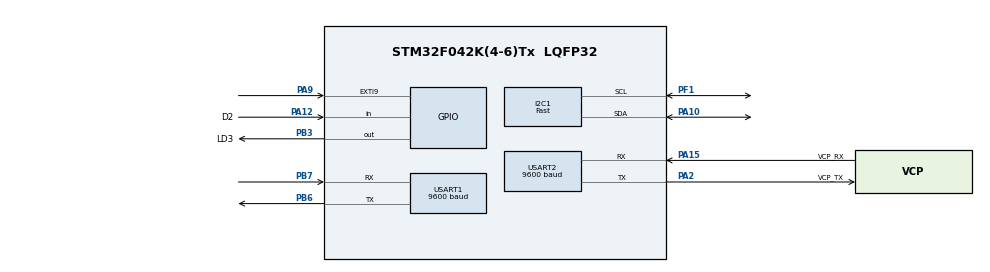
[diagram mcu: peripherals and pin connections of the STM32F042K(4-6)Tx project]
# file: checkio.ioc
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Dma.Request0=USART2_RX
Dma.Request1=USART2_TX
Dma.USART2_RX.0.Direction=DMA_PERIPH_TO_MEMORY
Dma.USART2_RX.0.Instance=DMA1_Channel5
Dma.USART2_RX.0.MemDataAlignment=DMA_MDATAALIGN_BYTE
Dma.USART2_RX.0.MemInc=DMA_MINC_ENABLE
Dma.USART2_RX.0.Mode=DMA_NORMAL
Dma.USART2_RX.0.PeriphDataAlignment=DMA_PDATAALIGN_BYTE
Dma.USART2_RX.0.PeriphInc=DMA_PINC_DISABLE
Dma.USART2_RX.0.Priority=DMA_PRIORITY_LOW
Dma.USART2_TX.1.Direction=DMA_MEMORY_TO_PERIPH
Dma.USART2_TX.1.Instance=DMA1_Channel4
Dma.USART2_TX.1.MemDataAlignment=DMA_MDATAALIGN_BYTE
Dma.USART2_TX.1.MemInc=DMA_MINC_ENABLE
Dma.USART2_TX.1.Mode=DMA_NORMAL
Dma.USART2_TX.1.PeriphDataAlignment=DMA_PDATAALIGN_BYTE
Dma.USART2_TX.1.PeriphInc=DMA_PINC_DISABLE
Dma.USART2_TX.1.Priority=DMA_PRIORITY_LOW
FREERTOS.Tasks01=defaultTask,0,128,StartDefaultTask,Default,NULL,Dynamic,NULL,NULL;myTask02led,-3,128,StartTask02led,Default,NULL,Dynamic,NULL,NULL;myTask03print,-3,128,StartTask03print,Default,NULL,Dynamic,NULL,NULL
FREERTOS.configMINIMAL_STACK_SIZE=64
I2C1.I2C_Speed_Mode=I2C_Fast
I2C1.OwnAddress=0x47
I2C1.Timing=0x0000020B
Mcu.Family=STM32F0
Mcu.Name=STM32F042K(4-6)Tx
Mcu.Package=LQFP32
NVIC.DMA1_Channel4_5_IRQn=true\:3\:0\:false\:false\:true\:true\:false
NVIC.EXTI4_15_IRQn=true\:3\:0\:false\:false\:true\:true\:true
NVIC.I2C1_IRQn=true\:3\:0\:false\:false\:true\:true\:true
NVIC.USART1_IRQn=true\:3\:0\:false\:false\:true\:true\:true
NVIC.USART2_IRQn=true\:3\:0\:false\:false\:true\:true\:true
PA10.Mode=I2C
PA10.Signal=I2C1_SDA
PA12.GPIO_Label=D2
PA12.Signal=GPIO_Input
PA13.GPIO_Label=SWDIO
PA13.Mode=Serial_Wire
PA13.Signal=SYS_SWDIO
PA14.GPIO_Label=SWCLK
PA14.Mode=Serial_Wire
PA14.Signal=SYS_SWCLK
PA15.GPIO_Label=VCP_RX
PA15.Mode=Asynchronous
PA15.Signal=USART2_RX
PA2.GPIO_Label=VCP_TX
PA2.Mode=Asynchronous
PA2.Signal=USART2_TX
PA9.Signal=GPXTI9
PB3.GPIO_Label=LD3
PB3.PinState=GPIO_PIN_SET
PB3.Signal=GPIO_Output
PB6.Mode=Asynchronous
PB6.Signal=USART1_TX
PB7.Mode=Asynchronous
PB7.Signal=USART1_RX
PF0-OSC_IN.GPIO_Label=MCO
PF0-OSC_IN.Mode=HSE-External-Clock-Source
PF0-OSC_IN.Signal=RCC_OSC_IN
PF1-OSC_OUT.Mode=I2C
PF1-OSC_OUT.Signal=I2C1_SCL
ProjectManager.HeapSize=0x200
ProjectManager.StackSize=0x400
ProjectManager.TargetToolchain=MDK-ARM V5
USART1.BaudRate=9600
USART1.VirtualMode-Asynchronous=VM_ASYNC
USART2.BaudRate=9600
USART2.VirtualMode-Asynchronous=VM_ASYNC
VP_FREERTOS_VS_ENABLE.Mode=Enabled
board=NUCLEO-F042K6

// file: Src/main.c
/**
  ******************************************************************************
  * @file           : main.c
  * @brief          : Main program body
  ******************************************************************************
  * This notice applies to any and all portions of this file
  * that are not between comment pairs USER CODE BEGIN and
  * USER CODE END. Other portions of this file, whether
  * inserted by the user or by software development tools
  * are owned by their respective copyright owners.
  *
  * Copyright (c) 2018 STMicroelectronics International N.V.
  * All rights reserved.
  *
  * Redistribution and use in source and binary forms, with or without
  * modification, are permitted, provided that the following conditions are met:
  *
  * 1. Redistribution of source code must retain the above copyright notice,
  *    this list of conditions and the following disclaimer.
  * 2. Redistributions in binary form must reproduce the above copyright notice,
  *    this list of conditions and the following disclaimer in the documentation
  *    and/or other materials provided with the distribution.
  * 3. Neither the name of STMicroelectronics nor the names of other
  *    contributors to this software may be used to endorse or promote products
  *    derived from this software without specific written permission.
  * 4. This software, including modifications and/or derivative works of this
  *    software, must execute solely and exclusively on microcontroller or
  *    microprocessor devices manufactured by or for STMicroelectronics.
  * 5. Redistribution and use of this software other than as permitted under
  *    this license is void and will automatically terminate your rights under
  *    this license.
  *
  * THIS SOFTWARE IS PROVIDED BY STMICROELECTRONICS AND CONTRIBUTORS "AS IS"
  * AND ANY EXPRESS, IMPLIED OR STATUTORY WARRANTIES, INCLUDING, BUT NOT
  * LIMITED TO, THE IMPLIED WARRANTIES OF MERCHANTABILITY, FITNESS FOR A
  * PARTICULAR PURPOSE AND NON-INFRINGEMENT OF THIRD PARTY INTELLECTUAL PROPERTY
  * RIGHTS ARE DISCLAIMED TO THE FULLEST EXTENT PERMITTED BY LAW. IN NO EVENT
  * SHALL STMICROELECTRONICS OR CONTRIBUTORS BE LIABLE FOR ANY DIRECT, INDIRECT,
  * INCIDENTAL, SPECIAL, EXEMPLARY, OR CONSEQUENTIAL DAMAGES (INCLUDING, BUT NOT
  * LIMITED TO, PROCUREMENT OF SUBSTITUTE GOODS OR SERVICES; LOSS OF USE, DATA,
  * OR PROFITS; OR BUSINESS INTERRUPTION) HOWEVER CAUSED AND ON ANY THEORY OF
  * LIABILITY, WHETHER IN CONTRACT, STRICT LIABILITY, OR TORT (INCLUDING
  * NEGLIGENCE OR OTHERWISE) ARISING IN ANY WAY OUT OF THE USE OF THIS SOFTWARE,
  * EVEN IF ADVISED OF THE POSSIBILITY OF SUCH DAMAGE.
  *
  ******************************************************************************
  */
#include "main.h"
#include "stm32f0xx_hal.h"
#include "cmsis_os.h"

I2C_HandleTypeDef hi2c1;

UART_HandleTypeDef huart1;
UART_HandleTypeDef huart2;
DMA_HandleTypeDef hdma_usart2_rx;
DMA_HandleTypeDef hdma_usart2_tx;

osThreadId defaultTaskHandle;
osThreadId myTask02ledHandle;
osThreadId myTask03printHandle;

/* USER CODE BEGIN PV */
/* Private variables ---------------------------------------------------------*/
//uint8_t aTxMessage[] = "\r\n**** UART-Hyperterminal communication based on DMA ***\r\n    WaveShare Open7XXI-C Board \r\n";
/*	可以接收的最大字符个数	*/
#define BUFFERSIZE 255
uint8_t ReceiveBuff[BUFFERSIZE];						//接收缓冲区
uint8_t recv_end_flag = 0,Rx_len;	//接收完成中断，接收到字符长度

uint8_t I2C_read_value[1];
uint8_t I2C_write_value[1];
////	//	下面开始是	与 KYW 模组 的 串口 通讯协议	KYW00x系列模组和终端设备通信接口说明书V2.5（修改稿1806291423改）.docx

void huart1_receive_message_Handle(void);
volatile uint8_t Rxbuff_UART[100];
volatile uint8_t Rxbuff_UART_DMA[100];
volatile uint8_t Rxbuff_UART1[100];
volatile uint8_t Rx_count_UART1=0;
volatile uint8_t aaRxBuffer_UART1[1];
volatile uint8_t Rx_Num_UART1=0;
uint8_t power_on_FLAG=0;

volatile uint8_t RxBuffer_UART[1];
volatile uint8_t Rx_count_UART=0;
volatile uint16_t Rx_Num_UART=0;
/* USER CODE END PV */

void SystemClock_Config(void);
static void MX_GPIO_Init(void);
static void MX_DMA_Init(void);
static void MX_USART2_UART_Init(void);
static void MX_I2C1_Init(void);
static void MX_USART1_UART_Init(void);
void StartDefaultTask(void const * argument);
void StartTask02led(void const * argument);
void StartTask03print(void const * argument);

/* USER CODE BEGIN PFP */
/* Private function prototypes -----------------------------------------------*/

/* USER CODE END PFP */

int main(void)
{

  /* MCU Configuration----------------------------------------------------------*/

  /* Reset of all peripherals, Initializes the Flash interface and the Systick. */
  HAL_Init();

  /* Configure the system clock */
  SystemClock_Config();

  /* Initialize all configured peripherals */
  MX_GPIO_Init();
  MX_DMA_Init();
  MX_USART2_UART_Init();
  MX_I2C1_Init();
  MX_USART1_UART_Init();

  /* Create the thread(s) */
  /* definition and creation of defaultTask */
  osThreadDef(defaultTask, StartDefaultTask, osPriorityNormal, 0, 128);
  defaultTaskHandle = osThreadCreate(osThread(defaultTask), NULL);

  /* definition and creation of myTask02led */
  osThreadDef(myTask02led, StartTask02led, osPriorityIdle, 0, 128);
  myTask02ledHandle = osThreadCreate(osThread(myTask02led), NULL);

  /* definition and creation of myTask03print */
  osThreadDef(myTask03print, StartTask03print, osPriorityIdle, 0, 128);
  myTask03printHandle = osThreadCreate(osThread(myTask03print), NULL);

  /* Start scheduler */
  osKernelStart();

  /* We should never get here as control is now taken by the scheduler */

  /* Infinite loop */
  while (1)
  {

  /* USER CODE BEGIN 3 */
//		HAL_Delay(5000);
//		HAL_GPIO_TogglePin(LD3_GPIO_Port,LD3_Pin);
//		printf("\n\r 5秒到了 !!!");
  }
  /* USER CODE END 3 */

}

void SystemClock_Config(void)
{

  RCC_OscInitTypeDef RCC_OscInitStruct;
  RCC_ClkInitTypeDef RCC_ClkInitStruct;
  RCC_PeriphCLKInitTypeDef PeriphClkInit;

    /**Initializes the CPU, AHB and APB busses clocks
    */
  RCC_OscInitStruct.OscillatorType = RCC_OSCILLATORTYPE_HSI;
  RCC_OscInitStruct.HSIState = RCC_HSI_ON;
  RCC_OscInitStruct.HSICalibrationValue = 16;
  RCC_OscInitStruct.PLL.PLLState = RCC_PLL_NONE;
  if (HAL_RCC_OscConfig(&RCC_OscInitStruct) != HAL_OK)
  {
    _Error_Handler(__FILE__, __LINE__);
  }

    /**Initializes the CPU, AHB and APB busses clocks
    */
  RCC_ClkInitStruct.ClockType = RCC_CLOCKTYPE_HCLK|RCC_CLOCKTYPE_SYSCLK
                              |RCC_CLOCKTYPE_PCLK1;
  RCC_ClkInitStruct.SYSCLKSource = RCC_SYSCLKSOURCE_HSI;
  RCC_ClkInitStruct.AHBCLKDivider = RCC_SYSCLK_DIV1;
  RCC_ClkInitStruct.APB1CLKDivider = RCC_HCLK_DIV1;

  if (HAL_RCC_ClockConfig(&RCC_ClkInitStruct, FLASH_LATENCY_0) != HAL_OK)
  {
    _Error_Handler(__FILE__, __LINE__);
  }

  PeriphClkInit.PeriphClockSelection = RCC_PERIPHCLK_USART1|RCC_PERIPHCLK_I2C1;
  PeriphClkInit.Usart1ClockSelection = RCC_USART1CLKSOURCE_PCLK1;
  PeriphClkInit.I2c1ClockSelection = RCC_I2C1CLKSOURCE_HSI;
  if (HAL_RCCEx_PeriphCLKConfig(&PeriphClkInit) != HAL_OK)
  {
    _Error_Handler(__FILE__, __LINE__);
  }

    /**Configure the Systick interrupt time
    */
  HAL_SYSTICK_Config(HAL_RCC_GetHCLKFreq()/1000);

    /**Configure the Systick
    */
  HAL_SYSTICK_CLKSourceConfig(SYSTICK_CLKSOURCE_HCLK);

  /* SysTick_IRQn interrupt configuration */
  HAL_NVIC_SetPriority(SysTick_IRQn, 3, 0);
}

/* I2C1 init function */
static void MX_I2C1_Init(void)
{

  hi2c1.Instance = I2C1;
  hi2c1.Init.Timing = 0x0000020B;
  hi2c1.Init.OwnAddress1 = 142;
  hi2c1.Init.AddressingMode = I2C_ADDRESSINGMODE_7BIT;
  hi2c1.Init.DualAddressMode = I2C_DUALADDRESS_DISABLE;
  hi2c1.Init.OwnAddress2 = 0;
  hi2c1.Init.OwnAddress2Masks = I2C_OA2_NOMASK;
  hi2c1.Init.GeneralCallMode = I2C_GENERALCALL_DISABLE;
  hi2c1.Init.NoStretchMode = I2C_NOSTRETCH_DISABLE;
  if (HAL_I2C_Init(&hi2c1) != HAL_OK)
  {
    _Error_Handler(__FILE__, __LINE__);
  }

    /**Configure Analogue filter
    */
  if (HAL_I2CEx_ConfigAnalogFilter(&hi2c1, I2C_ANALOGFILTER_ENABLE) != HAL_OK)
  {
    _Error_Handler(__FILE__, __LINE__);
  }

    /**Configure Digital filter
    */
  if (HAL_I2CEx_ConfigDigitalFilter(&hi2c1, 0) != HAL_OK)
  {
    _Error_Handler(__FILE__, __LINE__);
  }

}

/* USART1 init function */
static void MX_USART1_UART_Init(void)
{

  huart1.Instance = USART1;
  huart1.Init.BaudRate = 9600;
  huart1.Init.WordLength = UART_WORDLENGTH_8B;
  huart1.Init.StopBits = UART_STOPBITS_1;
  huart1.Init.Parity = UART_PARITY_NONE;
  huart1.Init.Mode = UART_MODE_TX_RX;
  huart1.Init.HwFlowCtl = UART_HWCONTROL_NONE;
  huart1.Init.OverSampling = UART_OVERSAMPLING_16;
  huart1.Init.OneBitSampling = UART_ONE_BIT_SAMPLE_DISABLE;
  huart1.AdvancedInit.AdvFeatureInit = UART_ADVFEATURE_NO_INIT;
  if (HAL_UART_Init(&huart1) != HAL_OK)
  {
    _Error_Handler(__FILE__, __LINE__);
  }

}

/* USART2 init function */
static void MX_USART2_UART_Init(void)
{

  huart2.Instance = USART2;
  huart2.Init.BaudRate = 9600;
  huart2.Init.WordLength = UART_WORDLENGTH_8B;
  huart2.Init.StopBits = UART_STOPBITS_1;
  huart2.Init.Parity = UART_PARITY_NONE;
  huart2.Init.Mode = UART_MODE_TX_RX;
  huart2.Init.HwFlowCtl = UART_HWCONTROL_NONE;
  huart2.Init.OverSampling = UART_OVERSAMPLING_16;
  huart2.Init.OneBitSampling = UART_ONE_BIT_SAMPLE_DISABLE;
  huart2.AdvancedInit.AdvFeatureInit = UART_ADVFEATURE_NO_INIT;
  if (HAL_UART_Init(&huart2) != HAL_OK)
  {
    _Error_Handler(__FILE__, __LINE__);
  }

}

static void MX_DMA_Init(void)
{
  /* DMA controller clock enable */
  __HAL_RCC_DMA1_CLK_ENABLE();

  /* DMA interrupt init */
  /* DMA1_Channel4_5_IRQn interrupt configuration */
  HAL_NVIC_SetPriority(DMA1_Channel4_5_IRQn, 3, 0);
  HAL_NVIC_EnableIRQ(DMA1_Channel4_5_IRQn);

}

/** Configure pins as
        * Analog
        * Input
        * Output
        * EVENT_OUT
        * EXTI
*/
static void MX_GPIO_Init(void)
{

  GPIO_InitTypeDef GPIO_InitStruct;

  /* GPIO Ports Clock Enable */
  __HAL_RCC_GPIOF_CLK_ENABLE();
  __HAL_RCC_GPIOA_CLK_ENABLE();
  __HAL_RCC_GPIOB_CLK_ENABLE();

  /*Configure GPIO pin Output Level */
  HAL_GPIO_WritePin(LD3_GPIO_Port, LD3_Pin, GPIO_PIN_SET);

  /*Configure GPIO pin : PA9 */
  GPIO_InitStruct.Pin = GPIO_PIN_9;
  GPIO_InitStruct.Mode = GPIO_MODE_IT_RISING;
  GPIO_InitStruct.Pull = GPIO_NOPULL;
  HAL_GPIO_Init(GPIOA, &GPIO_InitStruct);

  /*Configure GPIO pin : D2_Pin */
  GPIO_InitStruct.Pin = D2_Pin;
  GPIO_InitStruct.Mode = GPIO_MODE_INPUT;
  GPIO_InitStruct.Pull = GPIO_NOPULL;
  HAL_GPIO_Init(D2_GPIO_Port, &GPIO_InitStruct);

  /*Configure GPIO pin : LD3_Pin */
  GPIO_InitStruct.Pin = LD3_Pin;
  GPIO_InitStruct.Mode = GPIO_MODE_OUTPUT_PP;
  GPIO_InitStruct.Pull = GPIO_NOPULL;
  GPIO_InitStruct.Speed = GPIO_SPEED_FREQ_LOW;
  HAL_GPIO_Init(LD3_GPIO_Port, &GPIO_InitStruct);

  /* EXTI interrupt init*/
  HAL_NVIC_SetPriority(EXTI4_15_IRQn, 3, 0);
  HAL_NVIC_EnableIRQ(EXTI4_15_IRQn);

}

/* USER CODE BEGIN 4 */
/* USER CODE BEGIN 1 */
#ifdef __GNUC__
  /* With GCC/RAISONANCE, small printf (option LD Linker->Libraries->Small printf
     set to 'Yes') calls __io_putchar() */
  #define PUTCHAR_PROTOTYPE int __io_putchar(int ch)
#else
  #define PUTCHAR_PROTOTYPE int fputc(int ch, FILE *f)
#endif /* __GNUC__ */
/**
  * @brief  Retargets the C library printf function to the USART.
  * @param  None
  * @retval None
  */
PUTCHAR_PROTOTYPE
{
  /* Place your implementation of fputc here */
  /* e.g. write a character to the EVAL_COM1 and Loop until the end of transmission */
  HAL_UART_Transmit(&huart2, (uint8_t *)&ch, 1, 0xFFFF);

  return ch;
}
/* USER CODE END 1 */

//	下面开始是	与 KYW 模组 的 串口 通讯协议	KYW00x系列模组和终端设备通信接口说明书V2.5（修改稿1806291423改）.docx

//	现在换新架构
void HAL_UART_RxCpltCallback(UART_HandleTypeDef *huart)
{
	if(huart == &huart2)
	{
			Rxbuff_UART1[Rx_count_UART1] = aaRxBuffer_UART1[0];
			Rx_count_UART1++;
			//	增加一个判断条件：如果串口收到5个字节还没有检测出头码 AA，就将	Rx_count_UART1归零			这个待测试验证后用
//		UART_IT_IDLE
//			if((Rx_count_UART1==5)&&(Rxbuff_UART1[0]!=0xAA))
//			{
//				Rx_count_UART1=0;
//			}
			if((Rxbuff_UART1[0]==0xAA)&&(Rxbuff_UART1[1]==0x5A)&&(Rx_count_UART1==(12+Rxbuff_UART1[11])))
			{
				for(uint8_t i=0;i<Rx_count_UART1;i++)
				{
					Rxbuff_UART[i]=Rxbuff_UART1[i];
				}
				huart1_receive_message_Handle();
				Rx_count_UART1=0;
			}
			HAL_UART_Receive_IT(&huart2,(uint8_t*)aaRxBuffer_UART1,1);
	}
}

void huart1_receive_message_Handle(void)
{
//	HAL_UART_Transmit_IT(&huart2, (uint8_t *)&Rxbuff_UART,Rx_count_UART1);
}

void uartdamget(void)
{
	if(recv_end_flag ==1)
	{
		/*	打印接收到的数据长度 */
//		printf("\nrx_len=%d\r\n",Rx_len);

		for(int i=0;i<Rx_len;i++)
		{
			/*	打印接收到的数据 */
				printf("%c",ReceiveBuff[i]);
		}
//		printf("\r\n");
		/*	清空接收缓存区	*/
		for(int i = 0; i < Rx_len ; i++)
			ReceiveBuff[i]=0;
		/*	接收数据长度清零	*/
		Rx_len=0;
		recv_end_flag=0;
	}
	/*	开启下一次接收	*/
	HAL_UART_Receive_DMA(&huart2,(uint8_t*)ReceiveBuff,BUFFERSIZE);
}
/* USER CODE END 4 */

void StartDefaultTask(void const * argument)
{

  /* USER CODE BEGIN 5 */

//	HAL_UART_Receive_IT(&huart2,(uint8_t*)aaRxBuffer_UART1,1);

	/* Infinite loop */
  for(;;)
  {
    osDelay(1);
//		HAL_UART_Receive_DMA(&huart2,(uint8_t *)Rxbuff_UART_DMA, 10);
  }
  /* USER CODE END 5 */
}

void StartTask02led(void const * argument)
{
  /* USER CODE BEGIN StartTask02led */
  /* Infinite loop */
  for(;;)
  {
    osDelay(1000);
		HAL_GPIO_TogglePin(LD3_GPIO_Port,LD3_Pin);
//		Rx_count_UART1=0;
//		for(uint8_t i=0;i<10;i++)
//		{
//			printf("%c",Rxbuff_UART_DMA[i]);
//		}
//		for(uint8_t i=0;i<10;i++)
//		{
//			Rxbuff_UART_DMA[i]=0;
//		}
  }
  /* USER CODE END StartTask02led */
}

void StartTask03print(void const * argument)
{
  /* USER CODE BEGIN StartTask03print */
//  uint8_t TX_data[1];
//	printf("\n\r 开机了 !!!");
//	for(uint8_t i=0;i<10;i++)
//	{
//		Rxbuff_UART_DMA[i]=i+1;
//	}
//	printf("This is a USART DMA Receive Test!!!\r\n");
	/*	使能串口1 IDLE中断	*/
	__HAL_UART_ENABLE_IT(&huart2, UART_IT_IDLE);
	/* Infinite loop */
  for(;;)
  {
		uartdamget();
//    osDelay(50);
//		HAL_UART_Transmit_DMA(&huart2, (uint8_t *)aTxMessage, sizeof(aTxMessage));

//		for(uint8_t i=0;i<10;i++)
//		{
//			printf("%c",Rxbuff_UART_DMA[i]);
//		}
//		HAL_UART_Receive_DMA(&huart2,(uint8_t *)Rxbuff_UART_DMA, 1);
//		HAL_UART_Transmit_DMA(&huart2, (uint8_t *)Rxbuff_UART_DMA, 10);
//		volatile uint8_t Rxbuff_UART_DMA[100];
//		TX_data[0]=0xFE;
  }
  /* USER CODE END StartTask03print */
}

void _Error_Handler(char *file, int line)
{
  while(1)
  {
  }
}

/************************ (C) COPYRIGHT STMicroelectronics *****END OF FILE****/
